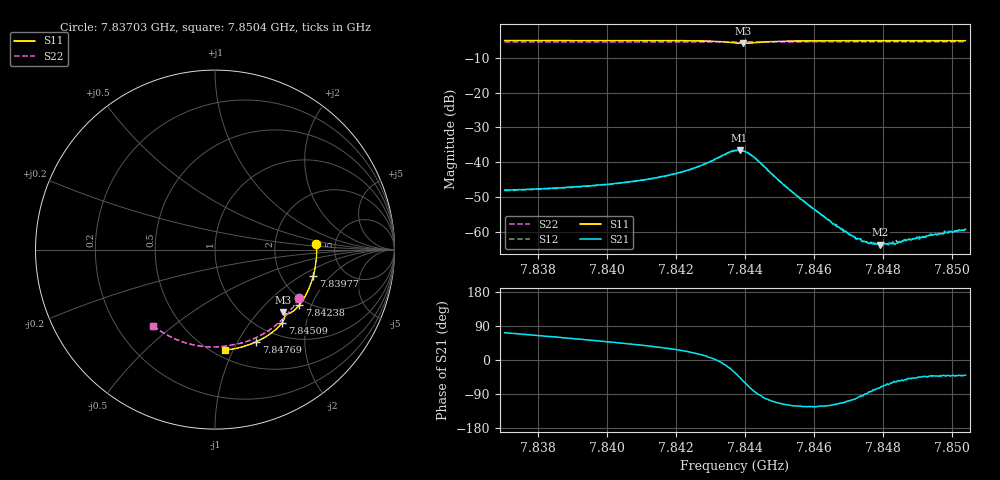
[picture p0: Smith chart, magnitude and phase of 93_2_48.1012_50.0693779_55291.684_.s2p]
#  HZ  S  RI  R  50.00
! Rohde & Schwarz Vector Network Analyzer
! Rohde-Schwarz,ZNB20-2Port,1311601062101988,3.16
! Created: UTC 12/23/2023, 3:43:59 AM
! freq[Hz]  re:S11  im:S11  re:S21  im:S21  re:S12  im:S12  re:S22  im:S22
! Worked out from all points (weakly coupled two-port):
!   401 points, 7.83703 GHz to 7.8504 GHz, reference 50 ohm
!   highest |S21| = -36.54 dB at 7.84385 GHz (marker M1); lowest = -63.8 dB at 7.84793 GHz (marker M2)
!   lowest |S11| = -5.8 dB at 7.84395 GHz (marker M3), VSWR 3.13, Z = 72.6 - j68.9 ohm
!   |S11| at or under -10 dB: nowhere
!   |S22| runs from -5.4 to -5.3 dB; largest |S21 - S12| = 0.00039
!   S11 on the Smith chart (normalised r, x): 7.83703 GHz: 3.57, +0.35; 7.83977 GHz: 2.99, -1.30; 7.84238 GHz: 1.81, -1.64; 7.84509 GHz: 1.25, -1.46; 7.84769 GHz: 0.80, -1.20; 7.8504 GHz: 0.57, -0.93
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7.837029e9  0.5653 0.0334  0.00121 0.00376  0.00125 0.00369  0.466 -0.2719
7.839269e9  0.5551 -0.1151  0.00259 0.00365  0.00263 0.0036  0.3691 -0.3948
7.83977e9  0.5475 -0.1476  0.00303 0.00361  0.00293 0.00357  0.3427 -0.418
7.841509e9  0.5034 -0.258  0.00507 0.00336  0.005 0.00337  0.2408 -0.4846
7.842378e9  0.4691 -0.3102  0.0072 0.00284  0.00718 0.00284  0.1848 -0.509
7.843214e9  0.42 -0.3531  0.0116 -0.000408  0.0114 -0.000202  0.1281 -0.525
7.843715e9  0.3844 -0.3551  0.0123 -0.00821  0.0122 -0.00819  0.0947 -0.5308
7.843849e9  0.3805 -0.3508  0.0104 -0.0106  0.0104 -0.0106  0.0861 -0.532
7.843949e9  0.3804 -0.3483  0.00825 -0.012  0.00838 -0.0119  0.0797 -0.5332
7.844283e9  0.3888 -0.3542  0.00121 -0.0115  0.00139 -0.0114  0.0583 -0.5371
7.845086e9  0.3738 -0.4071  -0.00213 -0.00445  -0.00211 -0.00448  0.00232 -0.5428
7.845955e9  0.3302 -0.4524  -0.00119 -0.00185  -0.00121 -0.00184  -0.0592 -0.5405
7.846623e9  0.2927 -0.4796  -0.000557 -0.0011  -0.000592 -0.0011  -0.1056 -0.5338
7.847192e9  0.2593 -0.4994  -0.000199 -0.000801  -0.000142 -0.000827  -0.1447 -0.525
7.847459e9  0.2431 -0.5075  -1.72e-05 -0.000731  -5.62e-05 -0.000731  -0.1628 -0.5197
7.847693e9  0.229 -0.5143  8.67e-05 -0.000659  7.73e-05 -0.000645  -0.1781 -0.5149
7.847927e9  0.2144 -0.5206  0.000189 -0.000621  0.000178 -0.00059  -0.1938 -0.5094
7.848195e9  0.1976 -0.5271  0.000297 -0.00059  0.000337 -0.000618  -0.2112 -0.5024
7.848395e9  0.1851 -0.5318  0.000359 -0.000577  0.000414 -0.00062  -0.2242 -0.497
7.848696e9  0.1659 -0.5379  0.000462 -0.000601  0.000461 -0.000618  -0.2433 -0.4882
7.849866e9  0.0901 -0.5555  0.000738 -0.000633  0.000734 -0.000682  -0.314 -0.4467
7.850401e9  0.0547 -0.5598  0.000828 -0.000697  0.000811 -0.000681  -0.3441 -0.4243
